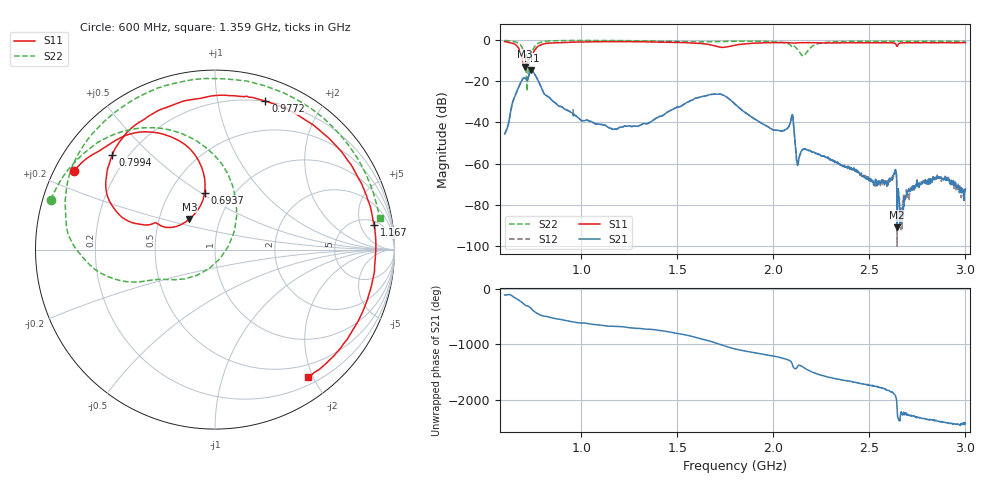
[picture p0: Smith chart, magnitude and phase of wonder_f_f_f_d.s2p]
#  HZ  S  RI  R  50.00
! Rohde & Schwarz ZVB8 2Ports - Version 2.81 - 1145.1010k08 SN: 100113
! Date: 2016-05-12 03:17:27
! Measurements: S11 S21 S12 S22
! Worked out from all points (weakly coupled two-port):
!   1000 points, 600 MHz to 3 GHz, reference 50 ohm
!   highest |S21| = -14.86 dB at 739.3 MHz (marker M1); lowest = -90.8 dB at 2.644 GHz (marker M2)
!   lowest |S11| = -13.1 dB at 705.7 MHz (marker M3), VSWR 1.57, Z = 35.6 + j12.7 ohm
!   |S11| at or under -10 dB: 694 MHz to 719.5 MHz (25.46 MHz wide, 3.6 % of centre)
!   |S22| runs from -24.9 to -0.4 dB; largest |S21 - S12| = 0.006
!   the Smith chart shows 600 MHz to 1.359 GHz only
!   S11 on the Smith chart (normalised r, x): 600 MHz: 0.06, +0.26; 693.7 MHz: 0.74, +0.52; 799.4 MHz: 0.14, +0.38; 977.2 MHz: 0.20, +1.38; 1.167 GHz: 6, +9; 1.359 GHz: 0.31, -1.93
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6e8  -0.7871 0.4378  -0.00227 -0.00474  -0.00215 -0.00473  -0.9148 0.2781
6.936937e8  -0.0582 0.3161  -0.0216 0.1091  -0.0218 0.1093  -0.101 0.6045
7.057057e8  -0.1429 0.1701  0.0482 0.1083  0.0491 0.1079  0.0989 0.3526
7.393393e8  -0.3941 0.1375  0.1799 -0.0165  0.18 -0.0177  -0.4082 -0.1781
7.993994e8  -0.572 0.5291  -0.0384 -0.0422  -0.0384 -0.0424  -0.8302 0.3174
9.771772e8  0.2813 0.8273  -0.00409 0.013  -0.00406 0.0129  -0.219 0.9282
1.001201e9  0.3896 0.7896  -0.00213 0.0107  -0.00218 0.0107  -0.1295 0.9462
1.166967e9  0.8867 0.1375  0.005 0.00452  0.00501 0.00443  0.5158 0.7986
1.359159e9  0.5193 -0.7107  0.00988 -0.00227  0.00992 -0.0023  0.9169 0.175
1.4e9  0.3452 -0.8043  0.0114 -0.00665  0.0115 -0.00663  0.9273 0.015
1.676276e9  -0.6322 -0.3871  -0.0288 0.0376  -0.0288 0.0376  0.4653 -0.7559
1.801201e9  -0.7083 -0.1978  0.027 -0.0032  0.0271 -0.00319  0.1002 -0.9098
2.000601e9  -0.6684 0.5239  -0.00464 -0.00464  -0.00461 -0.0047  -0.5219 -0.7237
2.094294e9  -0.3702 0.7479  -0.00527 0.0123  -0.00525 0.0124  -0.6045 -0.3203
2.127928e9  -0.2712 0.7929  0.000661 0.000783  0.000636 0.000727  -0.5241 -0.2156
2.2e9  0.0205 0.8453  0.000954 -0.00166  0.001 -0.00167  -0.3842 -0.5609
2.423423e9  0.7548 0.3718  -0.000277 0.000683  -0.000325 0.000639  -0.9078 -0.1248
2.601201e9  0.7479 -0.388  0.000353 -0.000229  0.000254 -0.000225  -0.8692 0.2984
2.644444e9  0.5427 -0.4152  2.73e-05 -8.82e-06  8.01e-06 6.2e-06  -0.8333 0.3883
2.668468e9  0.6074 -0.5742  2.54e-06 -5.17e-05  -3.31e-05 -7.17e-05  -0.8076 0.4362
2.855856e9  -0.0798 -0.8387  -0.000327 0.000314  -0.000358 0.000252  -0.5106 0.7567
3e9  -0.5533 -0.6393  -3.01e-05 0.000244  8.12e-06 0.000254  -0.1821 0.8843
